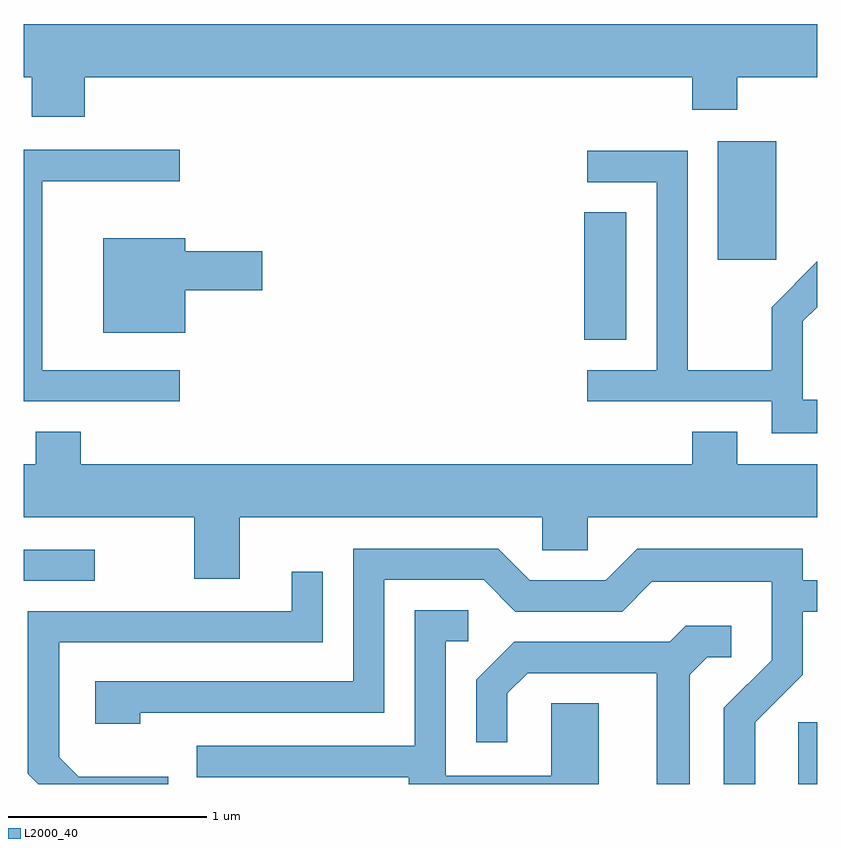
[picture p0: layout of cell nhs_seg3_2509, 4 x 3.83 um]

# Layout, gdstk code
import gdstk
lib = gdstk.Library(unit=1e-6, precision=1e-09)
def R(c, l, rs):  # rectangles x0, y0, x1, y1
    for r in rs: c.add(gdstk.rectangle(r[:2], r[2:], *l))
def P(c, l, *ps):  # polygons
    for p in ps: c.add(gdstk.Polygon(p, *l))
L2000_40 = (2000, 40)

nhs_seg3_2509 = lib.new_cell('nhs_seg3_2509')
R(nhs_seg3_2509, L2000_40, [(261.516,1237.892,261.611,1238.204), (257.611,1238.916,257.968,1239.074), (260.436,1240.131,260.649,1240.774), (261.111,1240.536,261.404,1241.134)])
P(nhs_seg3_2509, L2000_40, [(257.919,1241.456),(260.981,1241.456),(260.981,1241.291),(261.209,1241.291),(261.209,1241.456),(261.611,1241.456),(261.611,1241.724),(257.611,1241.724),(257.611,1241.456),(257.651,1241.456),(257.651,1241.256),(257.919,1241.256)],
  [(258.397,1239.979),(257.704,1239.979),(257.704,1240.931),(258.397,1240.931),(258.397,1241.089),(257.611,1241.089),(257.611,1239.821),(258.397,1239.821)],
  [(261.611,1239.829),(261.539,1239.829),(261.539,1240.224),(261.611,1240.296),(261.611,1240.527),(261.381,1240.297),(261.381,1239.979),(260.959,1239.979),(260.959,1241.084),(260.453,1241.084),(260.453,1240.926),(260.801,1240.926),(260.801,1239.979),(260.453,1239.979),(260.453,1239.821),(261.381,1239.821),(261.381,1239.661),(261.611,1239.661)],
  [(258.424,1240.381),(258.814,1240.381),(258.814,1240.579),(258.424,1240.579),(258.424,1240.644),(258.011,1240.644),(258.011,1240.166),(258.424,1240.166)],
  [(258.699,1239.236),(260.226,1239.236),(260.226,1239.071),(260.454,1239.071),(260.454,1239.236),(261.611,1239.236),(261.611,1239.504),(261.209,1239.504),(261.209,1239.669),(260.981,1239.669),(260.981,1239.504),(257.899,1239.504),(257.899,1239.669),(257.671,1239.669),(257.671,1239.504),(257.611,1239.504),(257.611,1239.236),(258.471,1239.236),(258.471,1238.926),(258.699,1238.926)],
  [(261.299,1238.204),(261.539,1238.444),(261.539,1238.761),(261.611,1238.761),(261.611,1238.919),(261.539,1238.919),(261.539,1239.079),(260.704,1239.079),(260.544,1238.919),(260.162,1238.919),(260.002,1239.079),(259.271,1239.079),(259.271,1238.409),(257.971,1238.409),(257.971,1238.196),(258.199,1238.196),(258.199,1238.251),(259.429,1238.251),(259.429,1238.921),(259.929,1238.921),(260.089,1238.761),(260.627,1238.761),(260.777,1238.911),(261.381,1238.911),(261.381,1238.517),(261.141,1238.277),(261.141,1237.892),(261.299,1237.892)],
  [(258.339,1237.929),(257.887,1237.929),(257.789,1238.027),(257.789,1238.606),(259.119,1238.606),(259.119,1238.963),(258.961,1238.963),(258.961,1238.764),(257.631,1238.764),(257.631,1237.944),(257.683,1237.892),(258.339,1237.892)],
  [(260.509,1238.299),(260.271,1238.299),(260.271,1237.934),(259.739,1237.934),(259.739,1238.611),(259.853,1238.611),(259.853,1238.769),(259.581,1238.769),(259.581,1238.084),(258.483,1238.084),(258.483,1237.926),(259.551,1237.926),(259.551,1237.892),(260.509,1237.892)],
  [(260.969,1238.444),(261.057,1238.531),(261.178,1238.531),(261.178,1238.689),(260.949,1238.689),(260.868,1238.609),(260.084,1238.609),(259.891,1238.417),(259.891,1238.103),(260.049,1238.103),(260.049,1238.349),(260.152,1238.451),(260.801,1238.451),(260.801,1237.892),(260.969,1237.892)])

lib.write_gds('nhs_seg3_2509.gds')
